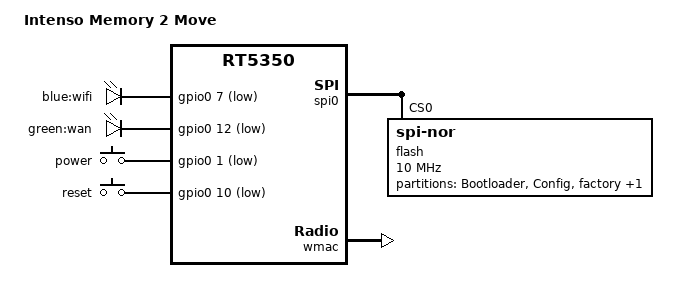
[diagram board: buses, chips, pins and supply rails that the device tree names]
#include "rt5350.dtsi"

#include <dt-bindings/gpio/gpio.h>
#include <dt-bindings/input/input.h>

/ {
	compatible = "intenso,memory2move", "ralink,rt5350-soc";
	model = "Intenso Memory 2 Move";

	aliases {
		led-boot = &led_wifi;
		led-failsafe = &led_wifi;
		led-running = &led_wifi;
		led-upgrade = &led_wifi;
	};

	chosen {
		bootargs = "console=ttyS0,57600n8 root=/dev/mtdblock5";
	};

	leds {
		compatible = "gpio-leds";

		led_wifi: wifi {
			label = "blue:wifi";
			gpios = <&gpio0 7 GPIO_ACTIVE_LOW>;
		};

		wan {
			label = "green:wan";
			gpios = <&gpio0 12 GPIO_ACTIVE_LOW>;
		};
	};

	keys {
		compatible = "gpio-keys-polled";
		poll-interval = <20>;

		power {
			label = "power";
			gpios = <&gpio0 1 GPIO_ACTIVE_LOW>;
			linux,code = <KEY_POWER>;
		};

		reset {
			label = "reset";
			gpios = <&gpio0 10 GPIO_ACTIVE_LOW>;
			linux,code = <KEY_RESTART>;
		};
	};
};

&spi0 {
	status = "okay";

	flash@0 {
		compatible = "jedec,spi-nor";
		reg = <0>;
		spi-max-frequency = <10000000>;

		partitions {
			compatible = "fixed-partitions";
			#address-cells = <1>;
			#size-cells = <1>;

			partition@0 {
				label = "Bootloader";
				reg = <0x0 0x30000>;
				read-only;
			};

			partition@30000 {
				label = "Config";
				reg = <0x30000 0x10000>;
				read-only;
			};

			factory: partition@40000 {
				label = "factory";
				reg = <0x40000 0x10000>;
				read-only;
			};

			partition@50000 {
				compatible = "denx,uimage";
				label = "firmware";
				reg = <0x50000 0x7b0000>;
			};
		};
	};
};

&state_default {
	gpio {
		groups = "i2c", "uartf";
		function = "gpio";
	};
};

&ethernet {
	nvmem-cells = <&macaddr_factory_28>;
	nvmem-cell-names = "mac-address";
};

&esw {
	mediatek,portmap = <0x2f>;
};

&wmac {
	ralink,mtd-eeprom = <&factory 0x0>;
};

&factory {
	compatible = "nvmem-cells";
	#address-cells = <1>;
	#size-cells = <1>;

	macaddr_factory_28: macaddr@28 {
		reg = <0x28 0x6>;
	};
};
